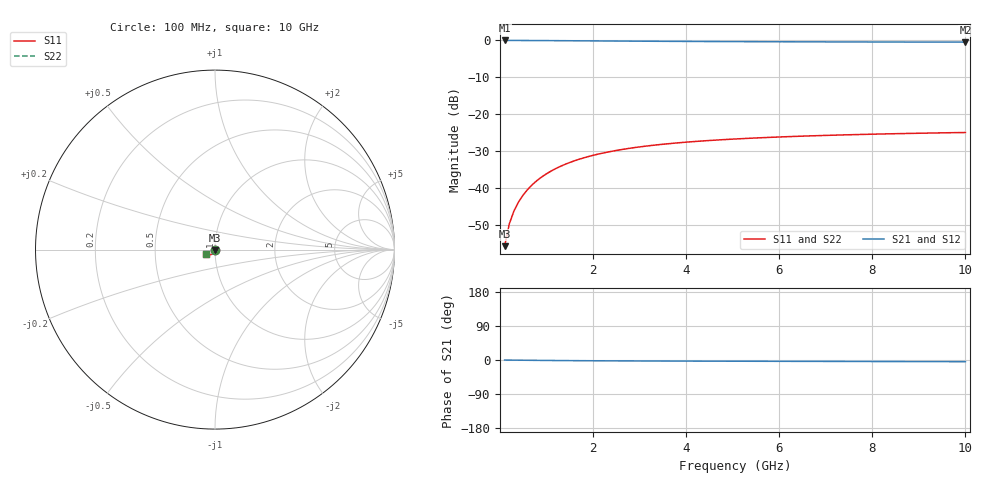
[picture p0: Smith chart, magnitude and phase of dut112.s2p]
! Touchstone file exported from HFSS 2024.1.0
!  File:  C:/UserFiles/LocalFiles/RDL_TSV_Batchsim/temp_TSV1_112_1778752587.aedt
!  Generated:  06:00:27 PM May 14, 2026
!  Design:  TSV1
!  Project:  temp_TSV1_112_1778752587
!  Setup:  Setup1
!  Solution:  Sweep
! Variables:
!  dtsv = 15.77um
!  hbump = 3um
!  htsv = 63.37um
!  lrdl = 252.1521522um
!  p = 40
!  p1 = 48.44um
!  t = 500um
!  trdl = 3um
!  wrdl = 24.89489489um
# GHz S MA R 50.000000
! Terminal data exported
! Port[1] = TSV22_T1
! Port[2] = TSV22_T2
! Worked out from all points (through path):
!   100 points, 100 MHz to 10 GHz, reference 50 ohm
!   highest |S21| = 0.00 dB at 100 MHz (marker M1); lowest = -0.5 dB at 10 GHz (marker M2)
!   lowest |S11| = -55.8 dB at 100 MHz (marker M3), VSWR 1.00, Z = 50 - j0.163 ohm
!   |S11| at or under -10 dB: start of sweep to end of sweep
!   |S22| runs from -55.8 to -24.9 dB; largest |S21 - S12| = 6.7e-15
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0.1  0.001631 -89.2  0.9999 -0.1  0.9999 -0.1  0.001631 -89.2
! Gamma 0 0 0 0
! Port Impedance 50 0 50 0
0.2  0.003256 -92.3  0.9997 -0.3  0.9997 -0.3  0.003256 -92.3
0.3  0.004876 -94.4  0.9995 -0.4  0.9995 -0.4  0.004876 -94.4
0.4  0.006485 -96.3  0.9991 -0.5  0.9991 -0.5  0.006485 -96.3
0.5  0.008075 -98.1  0.9987 -0.6  0.9987 -0.6  0.008075 -98.1
0.6  0.009644 -99.8  0.9982 -0.7  0.9982 -0.7  0.009644 -99.8
0.7  0.01118 -101.5  0.9976 -0.9  0.9976 -0.9  0.01118 -101.5
0.8  0.01269 -103.1  0.9969 -1.0  0.9969 -1.0  0.01269 -103.1
0.9  0.01417 -104.6  0.9962 -1.1  0.9962 -1.1  0.01417 -104.6
1.1  0.01701 -107.7  0.9946 -1.3  0.9946 -1.3  0.01701 -107.7
1.4  0.02097 -112.0  0.9919 -1.6  0.9919 -1.6  0.02097 -112.0
1.6  0.02339 -114.6  0.99 -1.7  0.99 -1.7  0.02339 -114.6
1.8  0.02565 -117.1  0.9881 -1.9  0.9881 -1.9  0.02565 -117.1
2.1  0.02873 -120.5  0.9853 -2.1  0.9853 -2.1  0.02873 -120.5
2.5  0.03232 -124.6  0.9816 -2.3  0.9816 -2.3  0.03232 -124.6
2.9  0.03539 -128.2  0.9782 -2.5  0.9782 -2.5  0.03539 -128.2
3.4  0.03863 -132.0  0.9743 -2.7  0.9743 -2.7  0.03863 -132.0
4.2  0.04278 -136.9  0.9689 -3.0  0.9689 -3.0  0.04278 -136.9
5.1  0.04637 -141.2  0.964 -3.2  0.964 -3.2  0.04637 -141.2
6.7  0.05099 -146.9  0.9574 -3.6  0.9574 -3.6  0.05099 -146.9
8.4  0.05435 -151.3  0.9525 -4.1  0.9525 -4.1  0.05435 -151.3
10  0.0566 -154.4  0.9491 -4.4  0.9491 -4.4  0.0566 -154.4
